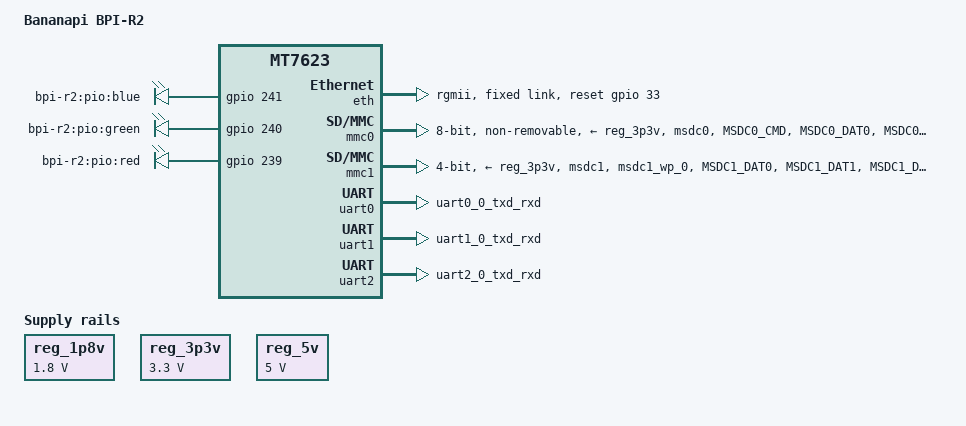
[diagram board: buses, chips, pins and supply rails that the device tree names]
/*
 * Copyright (C) 2018 MediaTek Inc.
 * Author: Ryder Lee <ryder.lee@mediatek.com>
 *
 * SPDX-License-Identifier: (GPL-2.0 OR MIT)
 */

/dts-v1/;
#include "mt7623.dtsi"

/ {
	model = "Bananapi BPI-R2";
	compatible = "bananapi,bpi-r2", "mediatek,mt7623";

	chosen {
		stdout-path = &uart2;
		tick-timer = &timer0;
	};

	reg_1p8v: regulator-1p8v {
		compatible = "regulator-fixed";
		regulator-name = "fixed-1.8V";
		regulator-min-microvolt = <1800000>;
		regulator-max-microvolt = <1800000>;
		regulator-boot-on;
		regulator-always-on;
	};

	reg_3p3v: regulator-3p3v {
		compatible = "regulator-fixed";
		regulator-name = "fixed-3.3V";
		regulator-min-microvolt = <3300000>;
		regulator-max-microvolt = <3300000>;
		regulator-boot-on;
		regulator-always-on;
	};

	reg_5v: regulator-5v {
		compatible = "regulator-fixed";
		regulator-name = "fixed-5V";
		regulator-min-microvolt = <5000000>;
		regulator-max-microvolt = <5000000>;
		regulator-boot-on;
		regulator-always-on;
	};

	leds {
		compatible = "gpio-leds";

		blue {
			label = "bpi-r2:pio:blue";
			gpios = <&gpio 241 GPIO_ACTIVE_HIGH>;
			default-state = "off";
		};

		green {
			label = "bpi-r2:pio:green";
			gpios = <&gpio 240 GPIO_ACTIVE_HIGH>;
			default-state = "off";
		};

		red {
			label = "bpi-r2:pio:red";
			gpios = <&gpio 239 GPIO_ACTIVE_HIGH>;
			default-state = "off";
		};
	};
};

&eth {
	status = "okay";
	mediatek,gmac-id = <0>;
	phy-mode = "rgmii";
	mediatek,switch = "mt7530";
	reset-gpios = <&gpio 33 GPIO_ACTIVE_HIGH>;

	fixed-link {
		speed = <1000>;
		full-duplex;
	};
};

&mmc0 {
	pinctrl-names = "default";
	pinctrl-0 = <&mmc0_pins_default>;
	status = "okay";
	bus-width = <8>;
	max-frequency = <50000000>;
	cap-mmc-highspeed;
	vmmc-supply = <&reg_3p3v>;
	vqmmc-supply = <&reg_1p8v>;
	non-removable;
};

&mmc1 {
	pinctrl-names = "default";
	pinctrl-0 = <&mmc1_pins_default>;
	status = "okay";
	bus-width = <4>;
	max-frequency = <50000000>;
	cap-sd-highspeed;
	cd-gpios = <&gpio 261 GPIO_ACTIVE_LOW>;
	vmmc-supply = <&reg_3p3v>;
	vqmmc-supply = <&reg_3p3v>;
};

&pinctrl {
	ephy_default: ephy_default {
		mux {
			function = "eth";
			groups = "mdc_mdio", "ephy";
		};

		conf {
			pins = "G2_TXEN", "G2_TXD0", "G2_TXD1", "G2_TXD2",
			       "G2_TXD3", "G2_TXC", "G2_RXC", "G2_RXD0",
			       "G2_RXD1", "G2_RXD2", "G2_RXD3", "G2_RXDV",
			       "MDC", "MDIO";
			drive-strength = <12>;
			mediatek,tdsel = <5>;
		};
	};

	mmc0_pins_default: mmc0default {
		mux {
			function = "msdc";
			groups =  "msdc0";
		};

		conf-cmd-data {
			pins = "MSDC0_CMD", "MSDC0_DAT0", "MSDC0_DAT1",
			       "MSDC0_DAT2", "MSDC0_DAT3", "MSDC0_DAT4",
			       "MSDC0_DAT5", "MSDC0_DAT6", "MSDC0_DAT7";
			input-enable;
			bias-pull-up;
		};

		conf-clk {
			pins = "MSDC0_CLK";
			bias-pull-down;
		};

		conf-rst {
			pins = "MSDC0_RSTB";
			bias-pull-up;
		};
	};

	mmc1_pins_default: mmc1default {
		mux {
			function = "msdc";
			groups =  "msdc1", "msdc1_wp_0";
		};

		conf-cmd-data {
			pins = "MSDC1_DAT0", "MSDC1_DAT1", "MSDC1_DAT2",
			       "MSDC1_DAT3", "MSDC1_DAT3", "MSDC1_CMD";
			input-enable;
			drive-strength = <4>;
			bias-pull-up;
		};

		conf-clk {
			pins = "MSDC1_CLK";
			drive-strength = <4>;
		};

		conf-wp {
			pins = "EINT7";
			input-enable;
			bias-pull-up;
		};
	};

	uart0_pins_a: uart0-default {
		mux {
			function = "uart";
			groups =  "uart0_0_txd_rxd";
		};
	};

	uart1_pins_a: uart1-default {
		mux {
			function = "uart";
			groups =  "uart1_0_txd_rxd";
		};
	};

	uart2_pins_a: uart2-default {
		mux {
			function = "uart";
			groups =  "uart2_0_txd_rxd";
		};
	};

	uart2_pins_b: uart2-alt {
		mux {
			function = "uart";
			groups =  "uart2_1_txd_rxd";
		};
	};
};

&uart0 {
	pinctrl-names = "default";
	pinctrl-0 = <&uart0_pins_a>;
	status = "okay";
};

&uart1 {
	pinctrl-names = "default";
	pinctrl-0 = <&uart1_pins_a>;
	status = "okay";
};

&uart2 {
	pinctrl-names = "default";
	pinctrl-0 = <&uart2_pins_a>;
	status = "okay";
};
